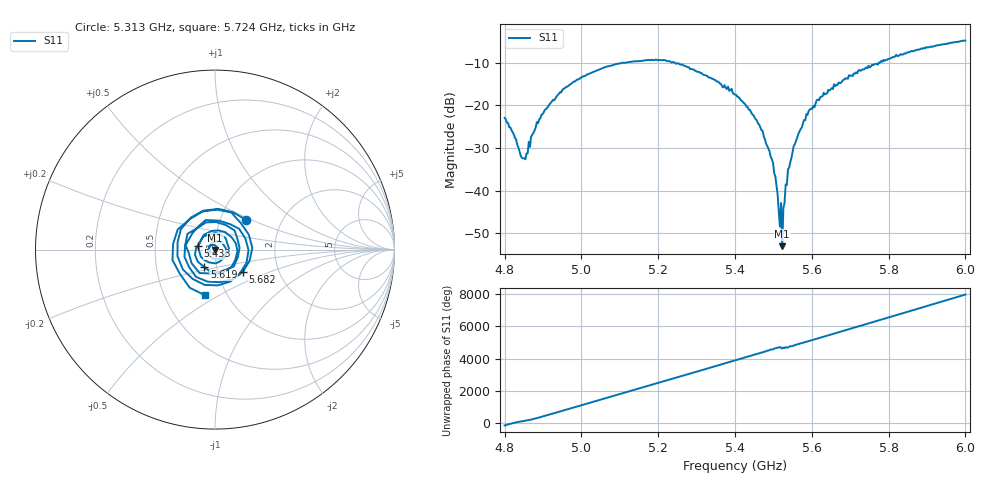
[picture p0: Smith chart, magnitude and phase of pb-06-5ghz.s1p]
! NanoVNA-App
! Date: 2026-05-22 17:26:29
! Start: 4.8GHz Stop: 6GHz Points: 401
! S-Parameter data: F S11
# Hz S RI R 50
!  Frequency  S11_Real  S11_Imag
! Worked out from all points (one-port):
!   401 points, 4.8 GHz to 6 GHz, reference 50 ohm
!   lowest |S11| = -53.0 dB at 5.523 GHz (marker M1), VSWR 1.00, Z = 50.1 - j0.186 ohm
!   |S11| at or under -10 dB: start of sweep to 5.109 GHz; 5.109281 GHz to 5.114667 GHz (5.387 MHz wide, 0.105 % of centre); 5.243 GHz to 5.775 GHz (531.1 MHz wide, 9.64 % of centre)
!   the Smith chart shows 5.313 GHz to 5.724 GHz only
!   S11 on the Smith chart (normalised r, x): 5.313 GHz: 1.32, +0.47; 5.433 GHz: 0.83, +0.03; 5.619 GHz: 0.87, -0.17; 5.682 GHz: 1.32, -0.34; 5.724 GHz: 0.79, -0.43
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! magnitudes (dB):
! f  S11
! 4.8 GHz  -22.9
! 4.842 GHz  -31.8
! 4.851 GHz  -32.4
! 4.89 GHz  -23.3
! 4.95 GHz  -16.4
! 5.01 GHz  -13.1
! 5.1 GHz  -10.1
! 5.19 GHz  -9.3
! 5.25 GHz  -10.1
! 5.313 GHz  -12.4
! 5.4 GHz  -17.5
! 5.433 GHz  -20.4
! 5.466 GHz  -25.2
! 5.493 GHz  -32.1
! 5.505 GHz  -36.6
! 5.517 GHz  -48.4
! 5.523 GHz  -53.0
! 5.529 GHz  -42.8
! 5.532 GHz  -38.5
! 5.538 GHz  -35.0
! 5.55 GHz  -30.8
! 5.586 GHz  -22.0
! 5.619 GHz  -18.8
! 5.682 GHz  -14.0
! 5.7 GHz  -13.0
! 5.724 GHz  -11.7
! 5.85 GHz  -7.6
! 6 GHz  -4.8
